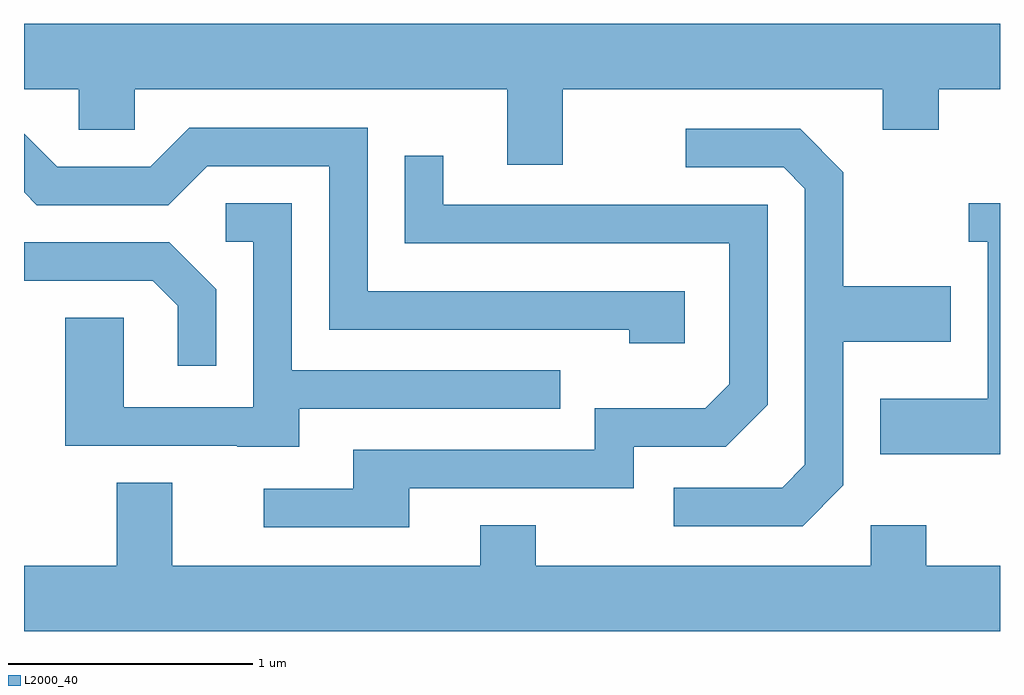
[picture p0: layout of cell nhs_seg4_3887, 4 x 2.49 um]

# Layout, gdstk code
import gdstk
lib = gdstk.Library(unit=1e-6, precision=1e-09)
def P(c, l, *ps):  # polygons
    for p in ps: c.add(gdstk.Polygon(p, *l))
L2000_40 = (2000, 40)

nhs_seg4_3887 = lib.new_cell('nhs_seg4_3887')
P(nhs_seg4_3887, L2000_40, [(301.819,1279.196),(303.131,1279.196),(303.131,1279.031),(303.359,1279.031),(303.359,1279.196),(303.611,1279.196),(303.611,1279.464),(299.611,1279.464),(299.611,1279.196),(299.836,1279.196),(299.836,1279.031),(300.064,1279.031),(300.064,1279.196),(301.591,1279.196),(301.591,1278.886),(301.819,1278.886)],
  [(302.319,1278.369),(301.019,1278.369),(301.019,1279.039),(300.289,1279.039),(300.129,1278.879),(299.747,1278.879),(299.611,1279.015),(299.611,1278.774),(299.664,1278.721),(300.202,1278.721),(300.362,1278.881),(300.861,1278.881),(300.861,1278.211),(302.091,1278.211),(302.091,1278.156),(302.319,1278.156)],
  [(302.969,1277.574),(302.969,1278.161),(303.409,1278.161),(303.409,1278.389),(302.969,1278.389),(302.969,1278.857),(302.792,1279.034),(302.323,1279.034),(302.323,1278.876),(302.724,1278.876),(302.811,1278.789),(302.811,1277.657),(302.719,1277.564),(302.273,1277.564),(302.273,1277.406),(302.802,1277.406)],
  [(301.189,1277.561),(302.109,1277.561),(302.109,1277.731),(302.487,1277.731),(302.659,1277.904),(302.659,1278.724),(301.329,1278.724),(301.329,1278.923),(301.171,1278.923),(301.171,1278.566),(302.501,1278.566),(302.501,1277.987),(302.404,1277.889),(301.951,1277.889),(301.951,1277.719),(300.961,1277.719),(300.961,1277.559),(300.593,1277.559),(300.593,1277.401),(301.189,1277.401)],
  [(300.739,1277.886),(301.808,1277.886),(301.808,1278.044),(300.709,1278.044),(300.709,1278.729),(300.438,1278.729),(300.438,1278.571),(300.551,1278.571),(300.551,1277.894),(300.019,1277.894),(300.019,1278.259),(299.781,1278.259),(299.781,1277.736),(300.485,1277.736),(300.485,1277.731),(300.739,1277.731)],
  [(303.611,1278.729),(303.483,1278.729),(303.483,1278.571),(303.561,1278.571),(303.561,1277.929),(303.121,1277.929),(303.121,1277.701),(303.611,1277.701)],
  [(300.399,1278.377),(300.207,1278.569),(299.611,1278.569),(299.611,1278.411),(300.139,1278.411),(300.241,1278.309),(300.241,1278.063),(300.399,1278.063)],
  [(303.611,1277.244),(303.309,1277.244),(303.309,1277.409),(303.081,1277.409),(303.081,1277.244),(301.709,1277.244),(301.709,1277.409),(301.481,1277.409),(301.481,1277.244),(300.219,1277.244),(300.219,1277.584),(299.991,1277.584),(299.991,1277.244),(299.611,1277.244),(299.611,1276.976),(303.611,1276.976)])

lib.write_gds('nhs_seg4_3887.gds')
